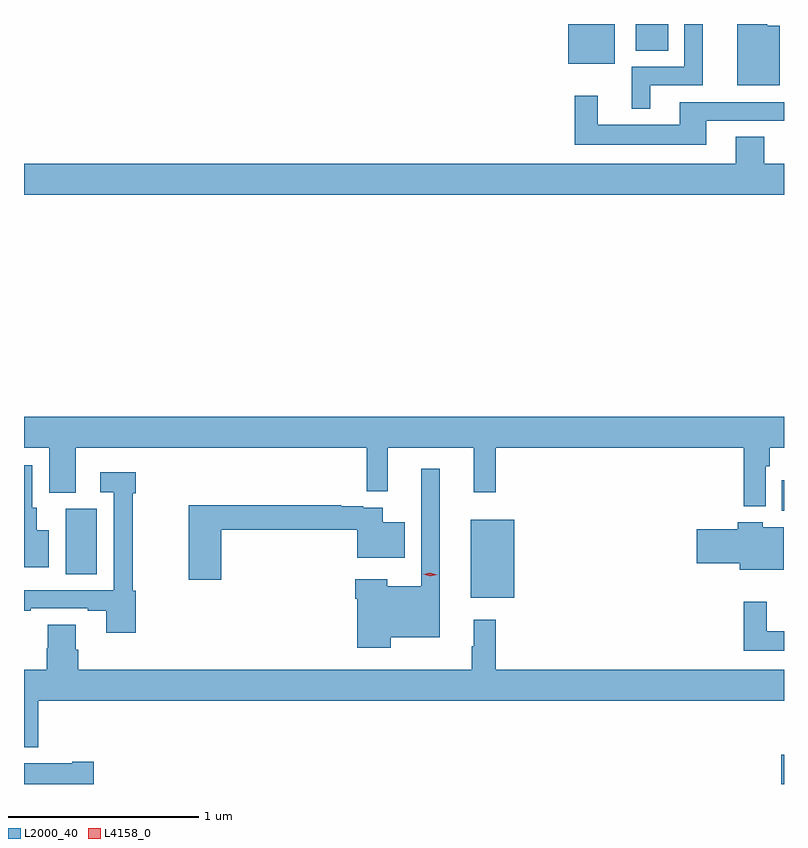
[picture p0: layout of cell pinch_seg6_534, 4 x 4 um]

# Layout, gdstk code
import gdstk
lib = gdstk.Library(unit=1e-6, precision=1e-09)
def R(c, l, rs):  # rectangles x0, y0, x1, y1
    for r in rs: c.add(gdstk.rectangle(r[:2], r[2:], *l))
def P(c, l, *ps):  # polygons
    for p in ps: c.add(gdstk.Polygon(p, *l))
L2000_40 = (2000, 40)
L4158_0 = (4158, 0)

pinch_seg6_534 = lib.new_cell('pinch_seg6_534')
R(pinch_seg6_534, L2000_40, [(782.292,945.567,782.307,945.721), (780.659,946.547,780.886,946.957), (778.526,946.672,778.69,947.016), (782.296,947.006,782.307,947.167), (781.172,949.358,781.417,949.567), (781.526,949.426,781.697,949.567)])
P(pinch_seg6_534, L2000_40, [(781.603,949.245),(781.88,949.245),(781.88,949.567),(781.782,949.567),(781.782,949.341),(781.505,949.341),(781.505,949.121),(781.603,949.121)],
  [(782.284,949.558),(782.218,949.558),(782.218,949.567),(782.06,949.567),(782.06,949.244),(782.284,949.244)],
  [(781.897,949.059),(782.307,949.059),(782.307,949.155),(781.757,949.155),(781.757,949.036),(781.327,949.036),(781.327,949.189),(781.206,949.189),(781.206,948.932),(781.897,948.932)],
  [(782.307,948.832),(782.202,948.832),(782.202,948.974),(782.054,948.974),(782.054,948.832),(778.307,948.832),(778.307,948.668),(782.307,948.668)],
  [(782.211,947.24),(782.231,947.24),(782.231,947.336),(782.307,947.336),(782.307,947.5),(778.307,947.5),(778.307,947.336),(778.439,947.336),(778.439,947.101),(778.579,947.101),(778.579,947.336),(780.112,947.336),(780.112,947.107),(780.221,947.107),(780.221,947.336),(780.674,947.336),(780.674,947.103),(780.791,947.103),(780.791,947.336),(782.095,947.336),(782.095,947.03),(782.211,947.03)],
  [(778.438,946.903),(778.375,946.903),(778.375,947.022),(778.35,947.022),(778.35,947.244),(778.307,947.244),(778.307,946.707),(778.438,946.707)],
  [(780.237,946.34),(780.496,946.34),(780.496,947.227),(780.399,947.227),(780.399,946.609),(780.22,946.609),(780.22,946.645),(780.05,946.645),(780.05,946.541),(780.062,946.541),(780.062,946.283),(780.237,946.283)],
  [(778.895,946.584),(778.88,946.584),(778.88,947.096),(778.895,947.096),(778.895,947.209),(778.707,947.209),(778.707,947.103),(778.779,947.103),(778.779,946.587),(778.307,946.587),(778.307,946.479),(778.343,946.479),(778.343,946.491),(778.643,946.491),(778.643,946.479),(778.739,946.479),(778.739,946.362),(778.895,946.362)],
  [(779.345,946.906),(780.062,946.906),(780.062,946.757),(780.31,946.757),(780.31,946.945),(780.196,946.945),(780.196,947.022),(780.092,947.022),(780.092,947.028),(779.978,947.028),(779.978,947.035),(779.174,947.035),(779.174,946.641),(779.345,946.641)],
  [(782.305,946.918),(782.196,946.918),(782.196,946.945),(782.063,946.945),(782.063,946.908),(781.848,946.908),(781.848,946.73),(782.075,946.73),(782.075,946.694),(782.305,946.694)],
  [(782.307,946.372),(782.215,946.372),(782.215,946.525),(782.094,946.525),(782.094,946.268),(782.307,946.268)],
  [(778.382,946.004),(782.307,946.004),(782.307,946.168),(780.791,946.168),(780.791,946.432),(780.674,946.432),(780.674,946.292),(780.663,946.292),(780.663,946.168),(778.592,946.168),(778.592,946.274),(778.579,946.274),(778.579,946.406),(778.432,946.406),(778.432,946.281),(778.427,946.281),(778.427,946.168),(778.307,946.168),(778.307,945.761),(778.382,945.761)],
  [(778.675,945.684),(778.562,945.684),(778.562,945.676),(778.307,945.676),(778.307,945.567),(778.675,945.567)])
P(pinch_seg6_534, L4158_0, [(780.444,946.66),(780.409,946.671),(780.409,946.672),(780.409,946.672),(780.445,946.68),(780.48,946.669),(780.481,946.668),(780.48,946.668)])

lib.write_gds('pinch_seg6_534.gds')
